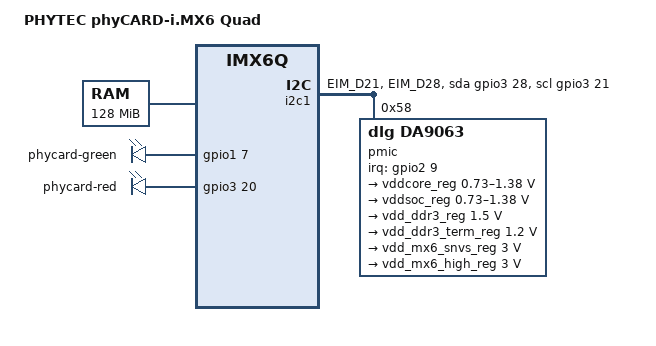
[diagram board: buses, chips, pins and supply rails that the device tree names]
// SPDX-License-Identifier: (GPL-2.0+ OR MIT)
/*
 * Copyright (C) 2014 PHYTEC Messtechnik GmbH
 * Author: Christian Hemp <c.hemp@phytec.de>
 */

#include "imx6q.dtsi"
#include <dt-bindings/gpio/gpio.h>

/ {
	model = "PHYTEC phyCARD-i.MX6 Quad";
	compatible = "phytec,imx6q-pcaaxl3", "fsl,imx6q";

	/*
	 * Set the minimum memory size here and
	 * let the bootloader set the real size.
	 */
	memory@10000000 {
		device_type = "memory";
		reg = <0x10000000 0x8000000>; /* 128 MiB memory */
	};

	aliases {
		rtc1 = &pmic_rtc;
		rtc2 = &snvs_rtc;
	};

	gpio_leds_som: som-leds {
		compatible = "gpio-leds";
		pinctrl-names = "default";
		pinctrl-0 = <&pinctrl_gpioleds_som>;

		phycard-green {
			gpios = <&gpio1 7 GPIO_ACTIVE_HIGH>;
			linux,default-trigger = "nand-disk";
		};

		phycard-red {
			gpios = <&gpio3 20 GPIO_ACTIVE_HIGH>;
			linux,default-trigger = "heartbeat";
		};
	};
};

&cpu0 {
	fsl,ldo-bypass;
};

&fec {
	pinctrl-names = "default";
	pinctrl-0 = <&pinctrl_enet>;
	phy-mode = "mii";
	status = "disabled";
};

&gpmi {
	pinctrl-names = "default";
	pinctrl-0 = <&pinctrl_gpmi_nand>;
	nand-on-flash-bbt;
	status = "disabled";
};

&i2c1 {
	pinctrl-names = "default", "gpio";
	pinctrl-0 = <&pinctrl_i2c1>;
	pinctrl-1 = <&pinctrl_i2c1_gpio>;
	scl-gpios = <&gpio3 21 (GPIO_ACTIVE_HIGH | GPIO_OPEN_DRAIN)>;
	sda-gpios = <&gpio3 28 (GPIO_ACTIVE_HIGH | GPIO_OPEN_DRAIN)>;
	status = "okay";

	eeprom: eeprom@50 {
		compatible = "catalyst,24c32", "atmel,24c32";
		reg = <0x50>;
		pagesize = <32>;
		status = "disabled";
	};

	pmic@58 {
		compatible = "dlg,da9063";
		pinctrl-names = "default";
		pinctrl-0 = <&pinctrl_pmic>;
		reg = <0x58>;
		interrupt-parent = <&gpio2>;
		interrupts = <9 IRQ_TYPE_LEVEL_LOW>;

		regulators {
			vddcore_reg: bcore1 {
				regulator-min-microvolt = <730000>;
				regulator-max-microvolt = <1380000>;
				regulator-ramp-delay = <10000>;
				regulator-always-on;
			};

			vddsoc_reg: bcore2 {
				regulator-min-microvolt = <730000>;
				regulator-max-microvolt = <1380000>;
				regulator-ramp-delay = <10000>;
				regulator-always-on;
			};

			vdd_ddr3_reg: bpro {
				regulator-min-microvolt = <1500000>;
				regulator-max-microvolt = <1500000>;
				regulator-always-on;
			};

			vdd_ddr3_term_reg: bio {
				regulator-min-microvolt = <1200000>;
				regulator-max-microvolt = <1200000>;
				regulator-always-on;
			};

			vdd_mx6_snvs_reg: ldo5 {
				regulator-min-microvolt = <3000000>;
				regulator-max-microvolt = <3000000>;
				regulator-always-on;
			};

			vdd_mx6_high_reg: ldo11 {
				regulator-min-microvolt = <3000000>;
				regulator-max-microvolt = <3000000>;
				regulator-always-on;
			};
		};

		pmic_rtc: rtc {
			compatible = "dlg,da9063-rtc";
		};

		pmic_wdog: wdt {
			compatible = "dlg,da9063-watchdog";
		};

		onkey {
			compatible = "dlg,da9063-onkey";
			status = "disabled";
		};
	};
};

&iomuxc {
	pinctrl_enet: enetgrp {
		fsl,pins = <
			MX6QDL_PAD_ENET_MDC__ENET_MDC		0x1b0b0
			MX6QDL_PAD_ENET_MDIO__ENET_MDIO		0x1b0b0
			MX6QDL_PAD_ENET_RXD0__ENET_RX_DATA0	0x1b0b0
			MX6QDL_PAD_ENET_RXD1__ENET_RX_DATA1	0x1b0b0
			MX6QDL_PAD_ENET_RX_ER__ENET_RX_ER	0x1b0b0
			MX6QDL_PAD_ENET_TX_EN__ENET_TX_EN	0x1b0b0
			MX6QDL_PAD_ENET_TXD0__ENET_TX_DATA0	0x1b0b0
			MX6QDL_PAD_ENET_TXD1__ENET_TX_DATA1	0x1b0b0
			MX6QDL_PAD_ENET_CRS_DV__ENET_RX_EN	0x1b0b0
			MX6QDL_PAD_ENET_REF_CLK__ENET_TX_CLK	0x1b0b0
			MX6QDL_PAD_KEY_COL0__ENET_RX_DATA3	0x1b0b0
			MX6QDL_PAD_KEY_ROW0__ENET_TX_DATA3	0x1b0b0
			MX6QDL_PAD_KEY_ROW1__ENET_COL		0x1b0b0
			MX6QDL_PAD_KEY_COL2__ENET_RX_DATA2	0x1b0b0
			MX6QDL_PAD_KEY_ROW2__ENET_TX_DATA2	0x1b0b0
			MX6QDL_PAD_KEY_COL3__ENET_CRS		0x1b0b0
			MX6QDL_PAD_GPIO_18__ENET_RX_CLK		0x1b0b0
			MX6QDL_PAD_GPIO_19__ENET_TX_ER		0x1b0b0
		>;
	};

	pinctrl_gpioleds_som: gpioleds-somgrp {
		fsl,pins = <
			MX6QDL_PAD_GPIO_7__GPIO1_IO07		0x1b0b0
			MX6QDL_PAD_EIM_D20__GPIO3_IO20		0x1b0b0
		>;
	};

	pinctrl_gpmi_nand: gpmigrp {
		fsl,pins = <
			MX6QDL_PAD_NANDF_CLE__NAND_CLE		0xb0b1
			MX6QDL_PAD_NANDF_ALE__NAND_ALE		0xb0b1
			MX6QDL_PAD_NANDF_WP_B__NAND_WP_B	0xb0b1
			MX6QDL_PAD_NANDF_RB0__NAND_READY_B	0xb000
			MX6QDL_PAD_NANDF_CS0__NAND_CE0_B	0xb0b1
			MX6QDL_PAD_NANDF_CS1__NAND_CE1_B	0xb0b1
			MX6QDL_PAD_SD4_CMD__NAND_RE_B		0xb0b1
			MX6QDL_PAD_SD4_CLK__NAND_WE_B		0xb0b1
			MX6QDL_PAD_NANDF_D0__NAND_DATA00	0xb0b1
			MX6QDL_PAD_NANDF_D1__NAND_DATA01	0xb0b1
			MX6QDL_PAD_NANDF_D2__NAND_DATA02	0xb0b1
			MX6QDL_PAD_NANDF_D3__NAND_DATA03	0xb0b1
			MX6QDL_PAD_NANDF_D4__NAND_DATA04	0xb0b1
			MX6QDL_PAD_NANDF_D5__NAND_DATA05	0xb0b1
			MX6QDL_PAD_NANDF_D6__NAND_DATA06	0xb0b1
			MX6QDL_PAD_NANDF_D7__NAND_DATA07	0xb0b1
			MX6QDL_PAD_SD4_DAT0__NAND_DQS		0x00b1
		>;
	};

	pinctrl_i2c1: i2c1grp {
		fsl,pins = <
			MX6QDL_PAD_EIM_D21__I2C1_SCL		0x4001b8b1
			MX6QDL_PAD_EIM_D28__I2C1_SDA		0x4001b8b1
		>;
	};

	pinctrl_i2c1_gpio: i2c1gpiogrp {
		fsl,pins = <
			MX6QDL_PAD_EIM_D21__GPIO3_IO21		0x4001b8b1
			MX6QDL_PAD_EIM_D28__GPIO3_IO28		0x4001b8b1
		>;
	};

	pinctrl_pmic: pmicgrp {
		fsl,pins = <
			MX6QDL_PAD_SD4_DAT1__GPIO2_IO09		0x1b0b0
		>;
	};
};

&reg_arm {
	regulator-allow-bypass;
	vin-supply = <&vddcore_reg>;
};

&reg_pu {
	regulator-allow-bypass;
	vin-supply = <&vddsoc_reg>;
};

&reg_soc {
	regulator-allow-bypass;
	vin-supply = <&vddsoc_reg>;
};

&snvs_poweroff {
	status = "okay";
};
